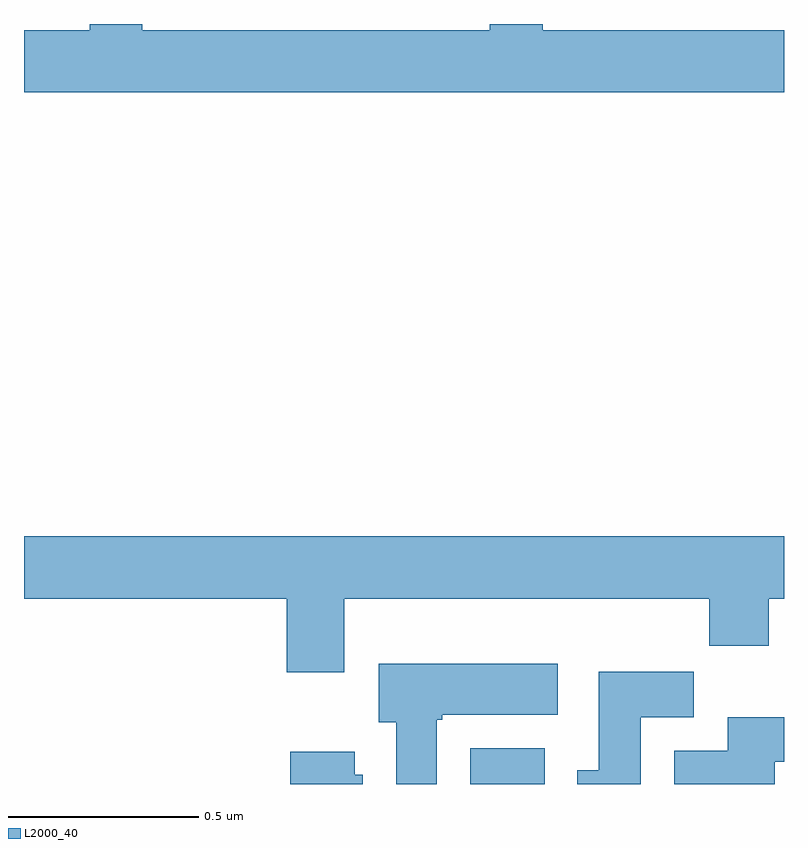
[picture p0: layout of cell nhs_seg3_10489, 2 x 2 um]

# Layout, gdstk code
import gdstk
lib = gdstk.Library(unit=1e-6, precision=1e-09)
def R(c, l, rs):  # rectangles x0, y0, x1, y1
    for r in rs: c.add(gdstk.rectangle(r[:2], r[2:], *l))
def P(c, l, *ps):  # polygons
    for p in ps: c.add(gdstk.Polygon(p, *l))
L2000_40 = (2000, 40)

nhs_seg3_10489 = lib.new_cell('nhs_seg3_10489')
R(nhs_seg3_10489, L2000_40, [(242.174,728.4,242.371,728.494)])
P(nhs_seg3_10489, L2000_40, [(243,730.384),(242.365,730.384),(242.365,730.4),(242.225,730.4),(242.225,730.384),(241.311,730.384),(241.311,730.4),(241.173,730.4),(241.173,730.384),(241,730.384),(241,730.22),(243,730.22)],
  [(241.843,728.888),(242.803,728.888),(242.803,728.764),(242.96,728.764),(242.96,728.888),(243,728.888),(243,729.052),(241,729.052),(241,728.888),(241.691,728.888),(241.691,728.694),(241.843,728.694)],
  [(242.086,728.569),(242.1,728.569),(242.1,728.582),(242.404,728.582),(242.404,728.716),(241.934,728.716),(241.934,728.562),(241.979,728.562),(241.979,728.4),(242.086,728.4)],
  [(242.623,728.576),(242.762,728.576),(242.762,728.695),(242.513,728.695),(242.513,728.436),(242.456,728.436),(242.456,728.4),(242.623,728.4)],
  [(242.975,728.458),(243,728.458),(243,728.576),(242.852,728.576),(242.852,728.488),(242.711,728.488),(242.711,728.4),(242.975,728.4)],
  [(241.891,728.424),(241.87,728.424),(241.87,728.485),(241.7,728.485),(241.7,728.4),(241.891,728.4)])

lib.write_gds('nhs_seg3_10489.gds')
